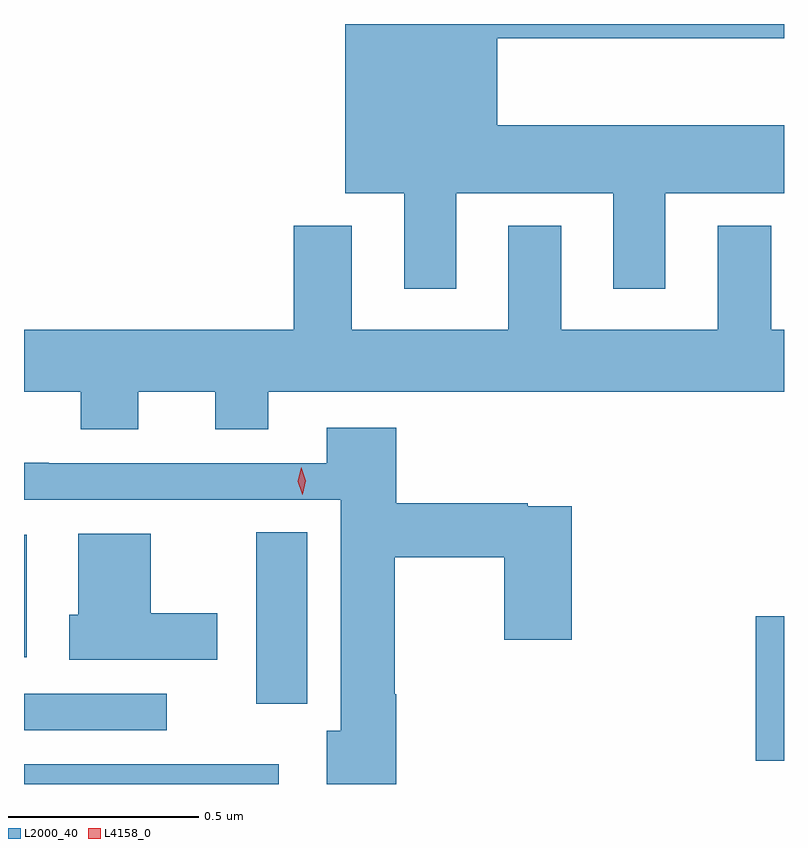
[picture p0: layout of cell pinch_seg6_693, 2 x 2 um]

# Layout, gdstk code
import gdstk
lib = gdstk.Library(unit=1e-6, precision=1e-09)
def R(c, l, rs):  # rectangles x0, y0, x1, y1
    for r in rs: c.add(gdstk.rectangle(r[:2], r[2:], *l))
def P(c, l, *ps):  # polygons
    for p in ps: c.add(gdstk.Polygon(p, *l))
L2000_40 = (2000, 40)
L4158_0 = (4158, 0)

pinch_seg6_693 = lib.new_cell('pinch_seg6_693')
R(pinch_seg6_693, L2000_40, [(456.003,918.332,456.673,918.384), (457.928,918.393,458.003,918.774), (456.003,918.474,456.379,918.57), (456.614,918.543,456.748,918.995), (456.003,918.665,456.01,918.988)])
P(pinch_seg6_693, L2000_40, [(457.141,919.886),(457.553,919.886),(457.553,919.635),(457.69,919.635),(457.69,919.886),(458.003,919.886),(458.003,920.065),(457.249,920.065),(457.249,920.294),(458.003,920.294),(458.003,920.332),(456.848,920.332),(456.848,919.886),(457.004,919.886),(457.004,919.635),(457.141,919.635)],
  [(456.304,919.364),(456.506,919.364),(456.506,919.265),(456.646,919.265),(456.646,919.364),(458.003,919.364),(458.003,919.528),(457.969,919.528),(457.969,919.801),(457.829,919.801),(457.829,919.528),(457.417,919.528),(457.417,919.801),(457.277,919.801),(457.277,919.528),(456.865,919.528),(456.865,919.801),(456.713,919.801),(456.713,919.528),(456.003,919.528),(456.003,919.364),(456.152,919.364),(456.152,919.265),(456.304,919.265)],
  [(456.983,918.568),(456.978,918.568),(456.978,918.929),(457.267,918.929),(457.267,918.711),(457.445,918.711),(457.445,919.063),(457.328,919.063),(457.328,919.071),(456.983,919.071),(456.983,919.27),(456.8,919.27),(456.8,919.176),(456.068,919.176),(456.068,919.178),(456.003,919.178),(456.003,919.08),(456.836,919.08),(456.836,918.472),(456.8,918.472),(456.8,918.332),(456.983,918.332)],
  [(456.511,918.781),(456.337,918.781),(456.337,918.991),(456.146,918.991),(456.146,918.777),(456.122,918.777),(456.122,918.659),(456.511,918.659)])
P(pinch_seg6_693, L4158_0, [(456.735,919.093),(456.735,919.094),(456.724,919.129),(456.733,919.165),(456.733,919.165),(456.733,919.165),(456.744,919.13),(456.736,919.094)])

lib.write_gds('pinch_seg6_693.gds')
